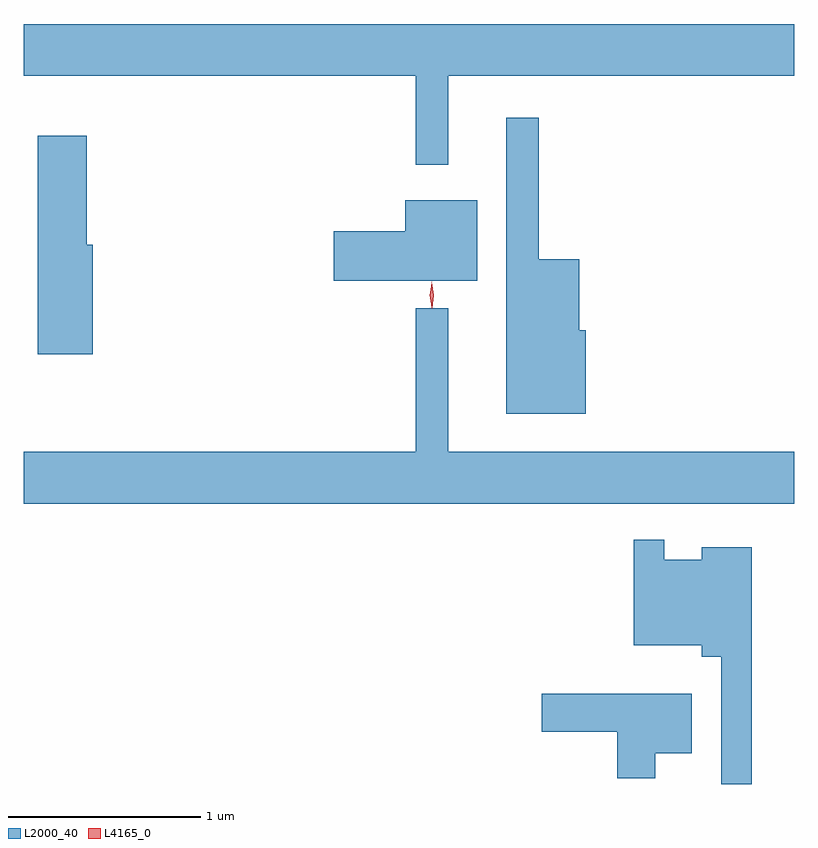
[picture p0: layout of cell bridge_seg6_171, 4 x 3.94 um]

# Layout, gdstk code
import gdstk
lib = gdstk.Library(unit=1e-6, precision=1e-09)
def P(c, l, *ps):  # polygons
    for p in ps: c.add(gdstk.Polygon(p, *l))
L2000_40 = (2000, 40)
L4165_0 = (4165, 0)

bridge_seg6_171 = lib.new_cell('bridge_seg6_171')
P(bridge_seg6_171, L2000_40, [(1063.559,1578.896),(1065.356,1578.896),(1065.356,1579.164),(1061.356,1579.164),(1061.356,1578.896),(1063.391,1578.896),(1063.391,1578.433),(1063.559,1578.433)],
  [(1064.274,1577.574),(1064.239,1577.574),(1064.239,1577.944),(1064.029,1577.944),(1064.029,1578.678),(1063.861,1578.678),(1063.861,1577.141),(1064.274,1577.141)],
  [(1061.714,1578.019),(1061.684,1578.019),(1061.684,1578.584),(1061.431,1578.584),(1061.431,1577.451),(1061.714,1577.451)],
  [(1063.709,1578.249),(1063.336,1578.249),(1063.336,1578.089),(1062.966,1578.089),(1062.966,1577.831),(1063.709,1577.831)],
  [(1063.391,1577.688),(1063.391,1576.944),(1061.356,1576.944),(1061.356,1576.676),(1065.356,1576.676),(1065.356,1576.944),(1063.559,1576.944),(1063.559,1577.688)],
  [(1065.134,1576.449),(1064.876,1576.449),(1064.876,1576.384),(1064.679,1576.384),(1064.679,1576.488),(1064.521,1576.488),(1064.521,1575.941),(1064.876,1575.941),(1064.876,1575.881),(1064.976,1575.881),(1064.976,1575.221),(1065.134,1575.221)],
  [(1064.634,1575.381),(1064.824,1575.381),(1064.824,1575.689),(1064.046,1575.689),(1064.046,1575.491),(1064.436,1575.491),(1064.436,1575.251),(1064.634,1575.251)])
P(bridge_seg6_171, L4165_0, [(1063.475,1577.693),(1063.474,1577.694),(1063.464,1577.756),(1063.473,1577.819),(1063.473,1577.82),(1063.474,1577.819),(1063.484,1577.756),(1063.475,1577.694)],
  [(1063.474,1577.69),(1063.465,1577.758),(1063.474,1577.825),(1063.474,1577.826),(1063.475,1577.825),(1063.484,1577.758),(1063.476,1577.69),(1063.475,1577.69)])

lib.write_gds('bridge_seg6_171.gds')
